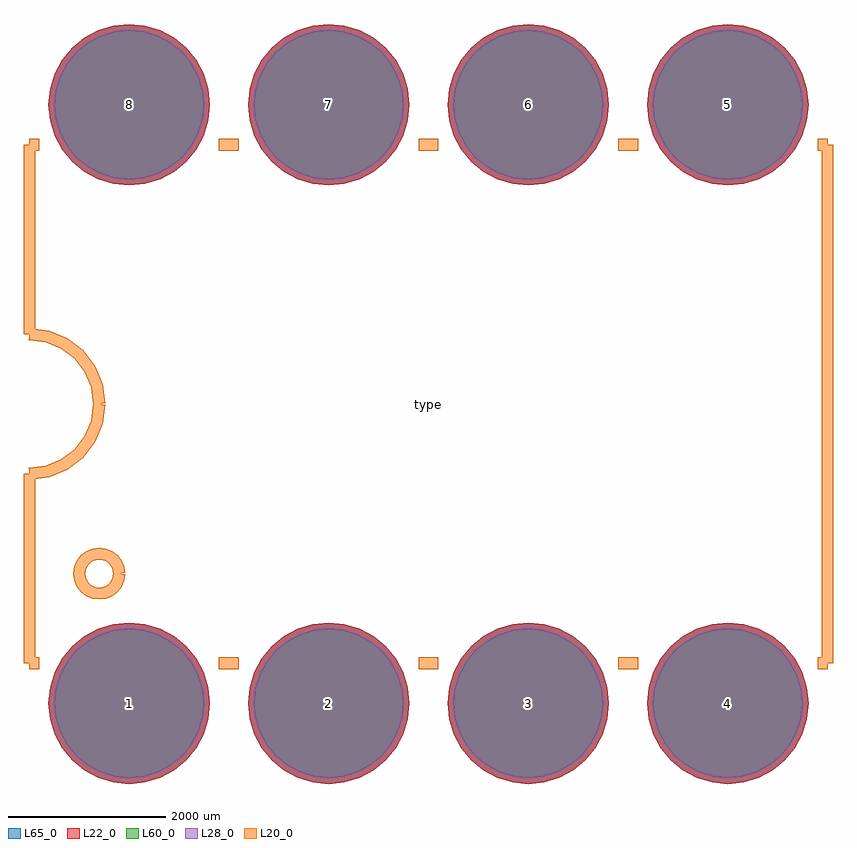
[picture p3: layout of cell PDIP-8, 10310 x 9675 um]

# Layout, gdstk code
import gdstk
lib = gdstk.Library(unit=1e-6, precision=1e-09)
def P(c, l, *ps):  # polygons
    for p in ps: c.add(gdstk.Polygon(p, *l))
L20_0 = (20, 0)
L22_0 = (22, 0)
L28_0 = (28, 0)
L60_0 = (60, 0)
L65_0 = (65, 0)

pdip_8 = lib.new_cell('PDIP-8')
P(pdip_8, L22_0, [(-2782.5,3810),(-2802.243,4010.455),(-2860.714,4203.207),(-2955.665,4380.848),(-3083.448,4536.552),(-3239.152,4664.335),(-3416.793,4759.286),(-3609.545,4817.757),(-3810,4837.5),(-4010.455,4817.757),(-4203.207,4759.286),(-4380.848,4664.335),(-4536.552,4536.552),(-4664.335,4380.848),(-4759.286,4203.207),(-4817.757,4010.455),(-4837.5,3810),(-4817.757,3609.545),(-4759.286,3416.793),(-4664.335,3239.152),(-4536.552,3083.448),(-4380.848,2955.665),(-4203.207,2860.714),(-4010.455,2802.243),(-3810,2782.5),(-3609.545,2802.243),(-3416.793,2860.714),(-3239.152,2955.665),(-3083.448,3083.448),(-2955.665,3239.152),(-2860.714,3416.793),(-2802.243,3609.545)],
  [(-242.5,3810),(-262.243,4010.455),(-320.714,4203.207),(-415.665,4380.848),(-543.448,4536.552),(-699.152,4664.335),(-876.793,4759.286),(-1069.545,4817.757),(-1270,4837.5),(-1470.455,4817.757),(-1663.207,4759.286),(-1840.848,4664.335),(-1996.552,4536.552),(-2124.335,4380.848),(-2219.286,4203.207),(-2277.757,4010.455),(-2297.5,3810),(-2277.757,3609.545),(-2219.286,3416.793),(-2124.335,3239.152),(-1996.552,3083.448),(-1840.848,2955.665),(-1663.207,2860.714),(-1470.455,2802.243),(-1270,2782.5),(-1069.545,2802.243),(-876.793,2860.714),(-699.152,2955.665),(-543.448,3083.448),(-415.665,3239.152),(-320.714,3416.793),(-262.243,3609.545)],
  [(2297.5,3810),(2277.757,4010.455),(2219.286,4203.207),(2124.335,4380.848),(1996.552,4536.552),(1840.848,4664.335),(1663.207,4759.286),(1470.455,4817.757),(1270,4837.5),(1069.545,4817.757),(876.793,4759.286),(699.152,4664.335),(543.448,4536.552),(415.665,4380.848),(320.714,4203.207),(262.243,4010.455),(242.5,3810),(262.243,3609.545),(320.714,3416.793),(415.665,3239.152),(543.448,3083.448),(699.152,2955.665),(876.793,2860.714),(1069.545,2802.243),(1270,2782.5),(1470.455,2802.243),(1663.207,2860.714),(1840.848,2955.665),(1996.552,3083.448),(2124.335,3239.152),(2219.286,3416.793),(2277.757,3609.545)],
  [(4837.5,3810),(4817.757,4010.455),(4759.286,4203.207),(4664.335,4380.848),(4536.552,4536.552),(4380.848,4664.335),(4203.207,4759.286),(4010.455,4817.757),(3810,4837.5),(3609.545,4817.757),(3416.793,4759.286),(3239.152,4664.335),(3083.448,4536.552),(2955.665,4380.848),(2860.714,4203.207),(2802.243,4010.455),(2782.5,3810),(2802.243,3609.545),(2860.714,3416.793),(2955.665,3239.152),(3083.448,3083.448),(3239.152,2955.665),(3416.793,2860.714),(3609.545,2802.243),(3810,2782.5),(4010.455,2802.243),(4203.207,2860.714),(4380.848,2955.665),(4536.552,3083.448),(4664.335,3239.152),(4759.286,3416.793),(4817.757,3609.545)],
  [(4837.5,-3810),(4817.757,-3609.545),(4759.286,-3416.793),(4664.335,-3239.152),(4536.552,-3083.448),(4380.848,-2955.665),(4203.207,-2860.714),(4010.455,-2802.243),(3810,-2782.5),(3609.545,-2802.243),(3416.793,-2860.714),(3239.152,-2955.665),(3083.448,-3083.448),(2955.665,-3239.152),(2860.714,-3416.793),(2802.243,-3609.545),(2782.5,-3810),(2802.243,-4010.455),(2860.714,-4203.207),(2955.665,-4380.848),(3083.448,-4536.552),(3239.152,-4664.335),(3416.793,-4759.286),(3609.545,-4817.757),(3810,-4837.5),(4010.455,-4817.757),(4203.207,-4759.286),(4380.848,-4664.335),(4536.552,-4536.552),(4664.335,-4380.848),(4759.286,-4203.207),(4817.757,-4010.455)],
  [(2297.5,-3810),(2277.757,-3609.545),(2219.286,-3416.793),(2124.335,-3239.152),(1996.552,-3083.448),(1840.848,-2955.665),(1663.207,-2860.714),(1470.455,-2802.243),(1270,-2782.5),(1069.545,-2802.243),(876.793,-2860.714),(699.152,-2955.665),(543.448,-3083.448),(415.665,-3239.152),(320.714,-3416.793),(262.243,-3609.545),(242.5,-3810),(262.243,-4010.455),(320.714,-4203.207),(415.665,-4380.848),(543.448,-4536.552),(699.152,-4664.335),(876.793,-4759.286),(1069.545,-4817.757),(1270,-4837.5),(1470.455,-4817.757),(1663.207,-4759.286),(1840.848,-4664.335),(1996.552,-4536.552),(2124.335,-4380.848),(2219.286,-4203.207),(2277.757,-4010.455)],
  [(-242.5,-3810),(-262.243,-3609.545),(-320.714,-3416.793),(-415.665,-3239.152),(-543.448,-3083.448),(-699.152,-2955.665),(-876.793,-2860.714),(-1069.545,-2802.243),(-1270,-2782.5),(-1470.455,-2802.243),(-1663.207,-2860.714),(-1840.848,-2955.665),(-1996.552,-3083.448),(-2124.335,-3239.152),(-2219.286,-3416.793),(-2277.757,-3609.545),(-2297.5,-3810),(-2277.757,-4010.455),(-2219.286,-4203.207),(-2124.335,-4380.848),(-1996.552,-4536.552),(-1840.848,-4664.335),(-1663.207,-4759.286),(-1470.455,-4817.757),(-1270,-4837.5),(-1069.545,-4817.757),(-876.793,-4759.286),(-699.152,-4664.335),(-543.448,-4536.552),(-415.665,-4380.848),(-320.714,-4203.207),(-262.243,-4010.455)],
  [(-2782.5,-3810),(-2802.243,-3609.545),(-2860.714,-3416.793),(-2955.665,-3239.152),(-3083.448,-3083.448),(-3239.152,-2955.665),(-3416.793,-2860.714),(-3609.545,-2802.243),(-3810,-2782.5),(-4010.455,-2802.243),(-4203.207,-2860.714),(-4380.848,-2955.665),(-4536.552,-3083.448),(-4664.335,-3239.152),(-4759.286,-3416.793),(-4817.757,-3609.545),(-4837.5,-3810),(-4817.757,-4010.455),(-4759.286,-4203.207),(-4664.335,-4380.848),(-4536.552,-4536.552),(-4380.848,-4664.335),(-4203.207,-4759.286),(-4010.455,-4817.757),(-3810,-4837.5),(-3609.545,-4817.757),(-3416.793,-4759.286),(-3239.152,-4664.335),(-3083.448,-4536.552),(-2955.665,-4380.848),(-2860.714,-4203.207),(-2802.243,-4010.455)])
P(pdip_8, L28_0, [(-2857.5,3810),(-2875.802,3995.824),(-2930.005,4174.506),(-3018.025,4339.181),(-3136.481,4483.519),(-3280.819,4601.975),(-3445.494,4689.995),(-3624.176,4744.198),(-3810,4762.5),(-3995.824,4744.198),(-4174.506,4689.995),(-4339.181,4601.975),(-4483.519,4483.519),(-4601.975,4339.181),(-4689.995,4174.506),(-4744.198,3995.824),(-4762.5,3810),(-4744.198,3624.176),(-4689.995,3445.494),(-4601.975,3280.819),(-4483.519,3136.481),(-4339.181,3018.025),(-4174.506,2930.005),(-3995.824,2875.802),(-3810,2857.5),(-3624.176,2875.802),(-3445.494,2930.005),(-3280.819,3018.025),(-3136.481,3136.481),(-3018.025,3280.819),(-2930.005,3445.494),(-2875.802,3624.176)],
  [(-317.5,3810),(-335.802,3995.824),(-390.005,4174.506),(-478.025,4339.181),(-596.481,4483.519),(-740.819,4601.975),(-905.494,4689.995),(-1084.176,4744.198),(-1270,4762.5),(-1455.824,4744.198),(-1634.506,4689.995),(-1799.181,4601.975),(-1943.519,4483.519),(-2061.975,4339.181),(-2149.995,4174.506),(-2204.198,3995.824),(-2222.5,3810),(-2204.198,3624.176),(-2149.995,3445.494),(-2061.975,3280.819),(-1943.519,3136.481),(-1799.181,3018.025),(-1634.506,2930.005),(-1455.824,2875.802),(-1270,2857.5),(-1084.176,2875.802),(-905.494,2930.005),(-740.819,3018.025),(-596.481,3136.481),(-478.025,3280.819),(-390.005,3445.494),(-335.802,3624.176)],
  [(2222.5,3810),(2204.198,3995.824),(2149.995,4174.506),(2061.975,4339.181),(1943.519,4483.519),(1799.181,4601.975),(1634.506,4689.995),(1455.824,4744.198),(1270,4762.5),(1084.176,4744.198),(905.494,4689.995),(740.819,4601.975),(596.481,4483.519),(478.025,4339.181),(390.005,4174.506),(335.802,3995.824),(317.5,3810),(335.802,3624.176),(390.005,3445.494),(478.025,3280.819),(596.481,3136.481),(740.819,3018.025),(905.494,2930.005),(1084.176,2875.802),(1270,2857.5),(1455.824,2875.802),(1634.506,2930.005),(1799.181,3018.025),(1943.519,3136.481),(2061.975,3280.819),(2149.995,3445.494),(2204.198,3624.176)],
  [(4762.5,3810),(4744.198,3995.824),(4689.995,4174.506),(4601.975,4339.181),(4483.519,4483.519),(4339.181,4601.975),(4174.506,4689.995),(3995.824,4744.198),(3810,4762.5),(3624.176,4744.198),(3445.494,4689.995),(3280.819,4601.975),(3136.481,4483.519),(3018.025,4339.181),(2930.005,4174.506),(2875.802,3995.824),(2857.5,3810),(2875.802,3624.176),(2930.005,3445.494),(3018.025,3280.819),(3136.481,3136.481),(3280.819,3018.025),(3445.494,2930.005),(3624.176,2875.802),(3810,2857.5),(3995.824,2875.802),(4174.506,2930.005),(4339.181,3018.025),(4483.519,3136.481),(4601.975,3280.819),(4689.995,3445.494),(4744.198,3624.176)],
  [(4762.5,-3810),(4744.198,-3624.176),(4689.995,-3445.494),(4601.975,-3280.819),(4483.519,-3136.481),(4339.181,-3018.025),(4174.506,-2930.005),(3995.824,-2875.802),(3810,-2857.5),(3624.176,-2875.802),(3445.494,-2930.005),(3280.819,-3018.025),(3136.481,-3136.481),(3018.025,-3280.819),(2930.005,-3445.494),(2875.802,-3624.176),(2857.5,-3810),(2875.802,-3995.824),(2930.005,-4174.506),(3018.025,-4339.181),(3136.481,-4483.519),(3280.819,-4601.975),(3445.494,-4689.995),(3624.176,-4744.198),(3810,-4762.5),(3995.824,-4744.198),(4174.506,-4689.995),(4339.181,-4601.975),(4483.519,-4483.519),(4601.975,-4339.181),(4689.995,-4174.506),(4744.198,-3995.824)],
  [(2222.5,-3810),(2204.198,-3624.176),(2149.995,-3445.494),(2061.975,-3280.819),(1943.519,-3136.481),(1799.181,-3018.025),(1634.506,-2930.005),(1455.824,-2875.802),(1270,-2857.5),(1084.176,-2875.802),(905.494,-2930.005),(740.819,-3018.025),(596.481,-3136.481),(478.025,-3280.819),(390.005,-3445.494),(335.802,-3624.176),(317.5,-3810),(335.802,-3995.824),(390.005,-4174.506),(478.025,-4339.181),(596.481,-4483.519),(740.819,-4601.975),(905.494,-4689.995),(1084.176,-4744.198),(1270,-4762.5),(1455.824,-4744.198),(1634.506,-4689.995),(1799.181,-4601.975),(1943.519,-4483.519),(2061.975,-4339.181),(2149.995,-4174.506),(2204.198,-3995.824)],
  [(-317.5,-3810),(-335.802,-3624.176),(-390.005,-3445.494),(-478.025,-3280.819),(-596.481,-3136.481),(-740.819,-3018.025),(-905.494,-2930.005),(-1084.176,-2875.802),(-1270,-2857.5),(-1455.824,-2875.802),(-1634.506,-2930.005),(-1799.181,-3018.025),(-1943.519,-3136.481),(-2061.975,-3280.819),(-2149.995,-3445.494),(-2204.198,-3624.176),(-2222.5,-3810),(-2204.198,-3995.824),(-2149.995,-4174.506),(-2061.975,-4339.181),(-1943.519,-4483.519),(-1799.181,-4601.975),(-1634.506,-4689.995),(-1455.824,-4744.198),(-1270,-4762.5),(-1084.176,-4744.198),(-905.494,-4689.995),(-740.819,-4601.975),(-596.481,-4483.519),(-478.025,-4339.181),(-390.005,-4174.506),(-335.802,-3995.824)],
  [(-2857.5,-3810),(-2875.802,-3624.176),(-2930.005,-3445.494),(-3018.025,-3280.819),(-3136.481,-3136.481),(-3280.819,-3018.025),(-3445.494,-2930.005),(-3624.176,-2875.802),(-3810,-2857.5),(-3995.824,-2875.802),(-4174.506,-2930.005),(-4339.181,-3018.025),(-4483.519,-3136.481),(-4601.975,-3280.819),(-4689.995,-3445.494),(-4744.198,-3624.176),(-4762.5,-3810),(-4744.198,-3995.824),(-4689.995,-4174.506),(-4601.975,-4339.181),(-4483.519,-4483.519),(-4339.181,-4601.975),(-4174.506,-4689.995),(-3995.824,-4744.198),(-3810,-4762.5),(-3624.176,-4744.198),(-3445.494,-4689.995),(-3280.819,-4601.975),(-3136.481,-4483.519),(-3018.025,-4339.181),(-2930.005,-4174.506),(-2875.802,-3995.824)])
P(pdip_8, L60_0, [(-2857.5,3810),(-2875.802,3995.824),(-2930.005,4174.506),(-3018.025,4339.181),(-3136.481,4483.519),(-3280.819,4601.975),(-3445.494,4689.995),(-3624.176,4744.198),(-3810,4762.5),(-3995.824,4744.198),(-4174.506,4689.995),(-4339.181,4601.975),(-4483.519,4483.519),(-4601.975,4339.181),(-4689.995,4174.506),(-4744.198,3995.824),(-4762.5,3810),(-4744.198,3624.176),(-4689.995,3445.494),(-4601.975,3280.819),(-4483.519,3136.481),(-4339.181,3018.025),(-4174.506,2930.005),(-3995.824,2875.802),(-3810,2857.5),(-3624.176,2875.802),(-3445.494,2930.005),(-3280.819,3018.025),(-3136.481,3136.481),(-3018.025,3280.819),(-2930.005,3445.494),(-2875.802,3624.176)],
  [(-317.5,3810),(-335.802,3995.824),(-390.005,4174.506),(-478.025,4339.181),(-596.481,4483.519),(-740.819,4601.975),(-905.494,4689.995),(-1084.176,4744.198),(-1270,4762.5),(-1455.824,4744.198),(-1634.506,4689.995),(-1799.181,4601.975),(-1943.519,4483.519),(-2061.975,4339.181),(-2149.995,4174.506),(-2204.198,3995.824),(-2222.5,3810),(-2204.198,3624.176),(-2149.995,3445.494),(-2061.975,3280.819),(-1943.519,3136.481),(-1799.181,3018.025),(-1634.506,2930.005),(-1455.824,2875.802),(-1270,2857.5),(-1084.176,2875.802),(-905.494,2930.005),(-740.819,3018.025),(-596.481,3136.481),(-478.025,3280.819),(-390.005,3445.494),(-335.802,3624.176)],
  [(2222.5,3810),(2204.198,3995.824),(2149.995,4174.506),(2061.975,4339.181),(1943.519,4483.519),(1799.181,4601.975),(1634.506,4689.995),(1455.824,4744.198),(1270,4762.5),(1084.176,4744.198),(905.494,4689.995),(740.819,4601.975),(596.481,4483.519),(478.025,4339.181),(390.005,4174.506),(335.802,3995.824),(317.5,3810),(335.802,3624.176),(390.005,3445.494),(478.025,3280.819),(596.481,3136.481),(740.819,3018.025),(905.494,2930.005),(1084.176,2875.802),(1270,2857.5),(1455.824,2875.802),(1634.506,2930.005),(1799.181,3018.025),(1943.519,3136.481),(2061.975,3280.819),(2149.995,3445.494),(2204.198,3624.176)],
  [(4762.5,3810),(4744.198,3995.824),(4689.995,4174.506),(4601.975,4339.181),(4483.519,4483.519),(4339.181,4601.975),(4174.506,4689.995),(3995.824,4744.198),(3810,4762.5),(3624.176,4744.198),(3445.494,4689.995),(3280.819,4601.975),(3136.481,4483.519),(3018.025,4339.181),(2930.005,4174.506),(2875.802,3995.824),(2857.5,3810),(2875.802,3624.176),(2930.005,3445.494),(3018.025,3280.819),(3136.481,3136.481),(3280.819,3018.025),(3445.494,2930.005),(3624.176,2875.802),(3810,2857.5),(3995.824,2875.802),(4174.506,2930.005),(4339.181,3018.025),(4483.519,3136.481),(4601.975,3280.819),(4689.995,3445.494),(4744.198,3624.176)],
  [(4762.5,-3810),(4744.198,-3624.176),(4689.995,-3445.494),(4601.975,-3280.819),(4483.519,-3136.481),(4339.181,-3018.025),(4174.506,-2930.005),(3995.824,-2875.802),(3810,-2857.5),(3624.176,-2875.802),(3445.494,-2930.005),(3280.819,-3018.025),(3136.481,-3136.481),(3018.025,-3280.819),(2930.005,-3445.494),(2875.802,-3624.176),(2857.5,-3810),(2875.802,-3995.824),(2930.005,-4174.506),(3018.025,-4339.181),(3136.481,-4483.519),(3280.819,-4601.975),(3445.494,-4689.995),(3624.176,-4744.198),(3810,-4762.5),(3995.824,-4744.198),(4174.506,-4689.995),(4339.181,-4601.975),(4483.519,-4483.519),(4601.975,-4339.181),(4689.995,-4174.506),(4744.198,-3995.824)],
  [(2222.5,-3810),(2204.198,-3624.176),(2149.995,-3445.494),(2061.975,-3280.819),(1943.519,-3136.481),(1799.181,-3018.025),(1634.506,-2930.005),(1455.824,-2875.802),(1270,-2857.5),(1084.176,-2875.802),(905.494,-2930.005),(740.819,-3018.025),(596.481,-3136.481),(478.025,-3280.819),(390.005,-3445.494),(335.802,-3624.176),(317.5,-3810),(335.802,-3995.824),(390.005,-4174.506),(478.025,-4339.181),(596.481,-4483.519),(740.819,-4601.975),(905.494,-4689.995),(1084.176,-4744.198),(1270,-4762.5),(1455.824,-4744.198),(1634.506,-4689.995),(1799.181,-4601.975),(1943.519,-4483.519),(2061.975,-4339.181),(2149.995,-4174.506),(2204.198,-3995.824)],
  [(-317.5,-3810),(-335.802,-3624.176),(-390.005,-3445.494),(-478.025,-3280.819),(-596.481,-3136.481),(-740.819,-3018.025),(-905.494,-2930.005),(-1084.176,-2875.802),(-1270,-2857.5),(-1455.824,-2875.802),(-1634.506,-2930.005),(-1799.181,-3018.025),(-1943.519,-3136.481),(-2061.975,-3280.819),(-2149.995,-3445.494),(-2204.198,-3624.176),(-2222.5,-3810),(-2204.198,-3995.824),(-2149.995,-4174.506),(-2061.975,-4339.181),(-1943.519,-4483.519),(-1799.181,-4601.975),(-1634.506,-4689.995),(-1455.824,-4744.198),(-1270,-4762.5),(-1084.176,-4744.198),(-905.494,-4689.995),(-740.819,-4601.975),(-596.481,-4483.519),(-478.025,-4339.181),(-390.005,-4174.506),(-335.802,-3995.824)],
  [(-2857.5,-3810),(-2875.802,-3624.176),(-2930.005,-3445.494),(-3018.025,-3280.819),(-3136.481,-3136.481),(-3280.819,-3018.025),(-3445.494,-2930.005),(-3624.176,-2875.802),(-3810,-2857.5),(-3995.824,-2875.802),(-4174.506,-2930.005),(-4339.181,-3018.025),(-4483.519,-3136.481),(-4601.975,-3280.819),(-4689.995,-3445.494),(-4744.198,-3624.176),(-4762.5,-3810),(-4744.198,-3995.824),(-4689.995,-4174.506),(-4601.975,-4339.181),(-4483.519,-4483.519),(-4339.181,-4601.975),(-4174.506,-4689.995),(-3995.824,-4744.198),(-3810,-4762.5),(-3624.176,-4744.198),(-3445.494,-4689.995),(-3280.819,-4601.975),(-3136.481,-4483.519),(-3018.025,-4339.181),(-2930.005,-4174.506),(-2875.802,-3995.824)])
P(pdip_8, L65_0, [(-2782.5,3810),(-2802.243,4010.455),(-2860.714,4203.207),(-2955.665,4380.848),(-3083.448,4536.552),(-3239.152,4664.335),(-3416.793,4759.286),(-3609.545,4817.757),(-3810,4837.5),(-4010.455,4817.757),(-4203.207,4759.286),(-4380.848,4664.335),(-4536.552,4536.552),(-4664.335,4380.848),(-4759.286,4203.207),(-4817.757,4010.455),(-4837.5,3810),(-4817.757,3609.545),(-4759.286,3416.793),(-4664.335,3239.152),(-4536.552,3083.448),(-4380.848,2955.665),(-4203.207,2860.714),(-4010.455,2802.243),(-3810,2782.5),(-3609.545,2802.243),(-3416.793,2860.714),(-3239.152,2955.665),(-3083.448,3083.448),(-2955.665,3239.152),(-2860.714,3416.793),(-2802.243,3609.545)],
  [(-242.5,3810),(-262.243,4010.455),(-320.714,4203.207),(-415.665,4380.848),(-543.448,4536.552),(-699.152,4664.335),(-876.793,4759.286),(-1069.545,4817.757),(-1270,4837.5),(-1470.455,4817.757),(-1663.207,4759.286),(-1840.848,4664.335),(-1996.552,4536.552),(-2124.335,4380.848),(-2219.286,4203.207),(-2277.757,4010.455),(-2297.5,3810),(-2277.757,3609.545),(-2219.286,3416.793),(-2124.335,3239.152),(-1996.552,3083.448),(-1840.848,2955.665),(-1663.207,2860.714),(-1470.455,2802.243),(-1270,2782.5),(-1069.545,2802.243),(-876.793,2860.714),(-699.152,2955.665),(-543.448,3083.448),(-415.665,3239.152),(-320.714,3416.793),(-262.243,3609.545)],
  [(2297.5,3810),(2277.757,4010.455),(2219.286,4203.207),(2124.335,4380.848),(1996.552,4536.552),(1840.848,4664.335),(1663.207,4759.286),(1470.455,4817.757),(1270,4837.5),(1069.545,4817.757),(876.793,4759.286),(699.152,4664.335),(543.448,4536.552),(415.665,4380.848),(320.714,4203.207),(262.243,4010.455),(242.5,3810),(262.243,3609.545),(320.714,3416.793),(415.665,3239.152),(543.448,3083.448),(699.152,2955.665),(876.793,2860.714),(1069.545,2802.243),(1270,2782.5),(1470.455,2802.243),(1663.207,2860.714),(1840.848,2955.665),(1996.552,3083.448),(2124.335,3239.152),(2219.286,3416.793),(2277.757,3609.545)],
  [(4837.5,3810),(4817.757,4010.455),(4759.286,4203.207),(4664.335,4380.848),(4536.552,4536.552),(4380.848,4664.335),(4203.207,4759.286),(4010.455,4817.757),(3810,4837.5),(3609.545,4817.757),(3416.793,4759.286),(3239.152,4664.335),(3083.448,4536.552),(2955.665,4380.848),(2860.714,4203.207),(2802.243,4010.455),(2782.5,3810),(2802.243,3609.545),(2860.714,3416.793),(2955.665,3239.152),(3083.448,3083.448),(3239.152,2955.665),(3416.793,2860.714),(3609.545,2802.243),(3810,2782.5),(4010.455,2802.243),(4203.207,2860.714),(4380.848,2955.665),(4536.552,3083.448),(4664.335,3239.152),(4759.286,3416.793),(4817.757,3609.545)],
  [(4837.5,-3810),(4817.757,-3609.545),(4759.286,-3416.793),(4664.335,-3239.152),(4536.552,-3083.448),(4380.848,-2955.665),(4203.207,-2860.714),(4010.455,-2802.243),(3810,-2782.5),(3609.545,-2802.243),(3416.793,-2860.714),(3239.152,-2955.665),(3083.448,-3083.448),(2955.665,-3239.152),(2860.714,-3416.793),(2802.243,-3609.545),(2782.5,-3810),(2802.243,-4010.455),(2860.714,-4203.207),(2955.665,-4380.848),(3083.448,-4536.552),(3239.152,-4664.335),(3416.793,-4759.286),(3609.545,-4817.757),(3810,-4837.5),(4010.455,-4817.757),(4203.207,-4759.286),(4380.848,-4664.335),(4536.552,-4536.552),(4664.335,-4380.848),(4759.286,-4203.207),(4817.757,-4010.455)],
  [(2297.5,-3810),(2277.757,-3609.545),(2219.286,-3416.793),(2124.335,-3239.152),(1996.552,-3083.448),(1840.848,-2955.665),(1663.207,-2860.714),(1470.455,-2802.243),(1270,-2782.5),(1069.545,-2802.243),(876.793,-2860.714),(699.152,-2955.665),(543.448,-3083.448),(415.665,-3239.152),(320.714,-3416.793),(262.243,-3609.545),(242.5,-3810),(262.243,-4010.455),(320.714,-4203.207),(415.665,-4380.848),(543.448,-4536.552),(699.152,-4664.335),(876.793,-4759.286),(1069.545,-4817.757),(1270,-4837.5),(1470.455,-4817.757),(1663.207,-4759.286),(1840.848,-4664.335),(1996.552,-4536.552),(2124.335,-4380.848),(2219.286,-4203.207),(2277.757,-4010.455)],
  [(-242.5,-3810),(-262.243,-3609.545),(-320.714,-3416.793),(-415.665,-3239.152),(-543.448,-3083.448),(-699.152,-2955.665),(-876.793,-2860.714),(-1069.545,-2802.243),(-1270,-2782.5),(-1470.455,-2802.243),(-1663.207,-2860.714),(-1840.848,-2955.665),(-1996.552,-3083.448),(-2124.335,-3239.152),(-2219.286,-3416.793),(-2277.757,-3609.545),(-2297.5,-3810),(-2277.757,-4010.455),(-2219.286,-4203.207),(-2124.335,-4380.848),(-1996.552,-4536.552),(-1840.848,-4664.335),(-1663.207,-4759.286),(-1470.455,-4817.757),(-1270,-4837.5),(-1069.545,-4817.757),(-876.793,-4759.286),(-699.152,-4664.335),(-543.448,-4536.552),(-415.665,-4380.848),(-320.714,-4203.207),(-262.243,-4010.455)],
  [(-2782.5,-3810),(-2802.243,-3609.545),(-2860.714,-3416.793),(-2955.665,-3239.152),(-3083.448,-3083.448),(-3239.152,-2955.665),(-3416.793,-2860.714),(-3609.545,-2802.243),(-3810,-2782.5),(-4010.455,-2802.243),(-4203.207,-2860.714),(-4380.848,-2955.665),(-4536.552,-3083.448),(-4664.335,-3239.152),(-4759.286,-3416.793),(-4817.757,-3609.545),(-4837.5,-3810),(-4817.757,-4010.455),(-4759.286,-4203.207),(-4664.335,-4380.848),(-4536.552,-4536.552),(-4380.848,-4664.335),(-4203.207,-4759.286),(-4010.455,-4817.757),(-3810,-4837.5),(-3609.545,-4817.757),(-3416.793,-4759.286),(-3239.152,-4664.335),(-3083.448,-4536.552),(-2955.665,-4380.848),(-2860.714,-4203.207),(-2802.243,-4010.455)])
pdip_8.add(gdstk.FlexPath([(5080,-3302),(5080,3302)], 149.998, ends="flush", simple_path=True, layer=20, datatype=0))  # L20_0
pdip_8.add(gdstk.FlexPath([(-2667,3302),(-2413,3302)], 149.998, ends="flush", simple_path=True, layer=20, datatype=0))  # L20_0
pdip_8.add(gdstk.FlexPath([(-127,3302),(127,3302)], 149.998, ends="flush", simple_path=True, layer=20, datatype=0))  # L20_0
pdip_8.add(gdstk.FlexPath([(2413,3302),(2667,3302)], 149.998, ends="flush", simple_path=True, layer=20, datatype=0))  # L20_0
pdip_8.add(gdstk.FlexPath([(5080,3302),(4953,3302)], 149.998, ends="flush", simple_path=True, layer=20, datatype=0))  # L20_0
pdip_8.add(gdstk.FlexPath([(-5080,3302),(-4953,3302)], 149.998, ends="flush", simple_path=True, layer=20, datatype=0))  # L20_0
pdip_8.add(gdstk.FlexPath([(-5080,-3302),(-4953,-3302)], 149.998, ends="flush", simple_path=True, layer=20, datatype=0))  # L20_0
pdip_8.add(gdstk.FlexPath([(-2667,-3302),(-2413,-3302)], 149.998, ends="flush", simple_path=True, layer=20, datatype=0))  # L20_0
pdip_8.add(gdstk.FlexPath([(-127,-3302),(127,-3302)], 149.998, ends="flush", simple_path=True, layer=20, datatype=0))  # L20_0
pdip_8.add(gdstk.FlexPath([(2413,-3302),(2667,-3302)], 149.998, ends="flush", simple_path=True, layer=20, datatype=0))  # L20_0
pdip_8.add(gdstk.FlexPath([(5080,-3302),(4953,-3302)], 149.998, ends="flush", simple_path=True, layer=20, datatype=0))  # L20_0
pdip_8.add(gdstk.FlexPath([(-3937,-2159),(-3945.655,-2093.26),(-3971.03,-2032),(-4011.395,-1979.395),(-4064,-1939.03),(-4125.26,-1913.655),(-4191,-1905),(-4256.74,-1913.655),(-4318,-1939.03),(-4370.605,-1979.395),(-4410.97,-2032),(-4436.345,-2093.26),(-4445,-2159),(-4436.345,-2224.74),(-4410.97,-2286),(-4370.605,-2338.605),(-4318,-2378.97),(-4256.74,-2404.345),(-4191,-2413),(-4125.26,-2404.345),(-4064,-2378.97),(-4011.395,-2338.605),(-3971.03,-2286),(-3945.655,-2224.74),(-3937,-2159)], 149.998, ends="flush", simple_path=True, layer=20, datatype=0))  # L20_0
pdip_8.add(gdstk.FlexPath([(-4191,0),(-4221.292,230.09),(-4310.103,444.5),(-4451.382,628.618),(-4635.5,769.897),(-4849.91,858.708),(-5080,889)], 149.998, ends="flush", simple_path=True, layer=20, datatype=0))  # L20_0
pdip_8.add(gdstk.FlexPath([(-5080,-889),(-4849.91,-858.708),(-4635.5,-769.897),(-4451.382,-628.618),(-4310.103,-444.5),(-4221.292,-230.09),(-4191,0)], 149.998, ends="flush", simple_path=True, layer=20, datatype=0))  # L20_0
pdip_8.add(gdstk.FlexPath([(-5080,889),(-5080,3302)], 149.998, ends="flush", simple_path=True, layer=20, datatype=0))  # L20_0
pdip_8.add(gdstk.FlexPath([(-5080,-889),(-5080,-3302)], 149.998, ends="flush", simple_path=True, layer=20, datatype=0))  # L20_0
pdip_8.add(gdstk.Label('8', (-3810,3810), layer=28, texttype=0))
pdip_8.add(gdstk.Label('7', (-1270,3810), layer=28, texttype=0))
pdip_8.add(gdstk.Label('6', (1270,3810), layer=28, texttype=0))
pdip_8.add(gdstk.Label('5', (3810,3810), layer=28, texttype=0))
pdip_8.add(gdstk.Label('4', (3810,-3810), layer=28, texttype=0))
pdip_8.add(gdstk.Label('3', (1270,-3810), layer=28, texttype=0))
pdip_8.add(gdstk.Label('2', (-1270,-3810), layer=28, texttype=0))
pdip_8.add(gdstk.Label('1', (-3810,-3810), layer=28, texttype=0))
pdip_8.add(gdstk.Label('type', (0,0), layer=9, texttype=0))
pdip_8.add(gdstk.Label('devicename', (0,0), layer=9, texttype=0))

lib.write_gds('PDIP-8.gds')
